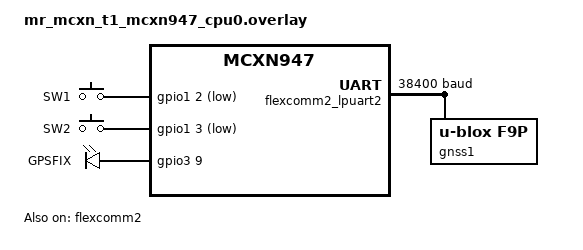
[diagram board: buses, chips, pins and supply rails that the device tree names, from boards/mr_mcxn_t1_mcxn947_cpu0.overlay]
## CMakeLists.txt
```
# Copyright 2026 NXP
#
# SPDX-License-Identifier: Apache-2.0

cmake_minimum_required(VERSION 3.13.1)

find_package(Zephyr REQUIRED HINTS $ENV{ZEPHYR_BASE})

project(io_exp_gnss LANGUAGES C)

set(flags
  -std=c11
  -Wall
  -Wextra
  -Werror
  -Wstrict-prototypes
  -Waggregate-return
  -Wbad-function-cast
  -Wcast-align
  -Wcast-qual
  -Wfloat-equal
  -Wformat-security
  -Wlogical-op
  -Wmissing-declarations
  -Wmissing-include-dirs
  -Wmissing-prototypes
  -Wnested-externs
  -Wpointer-arith
  -Wredundant-decls
  -Wsequence-point
  -Wshadow
  -Wstrict-prototypes
  -Wswitch
  -Wundef
  -Wunreachable-code
  -Wunused-but-set-parameter
  -Wwrite-strings
  )
string(JOIN " " flags ${flags})

set(SOURCE_FILES
  src/boot_banner.c
  )

set_source_files_properties(
  ${SOURCE_FILES}
  PROPERTIES COMPILE_FLAGS
  "${flags}"
  )

target_sources(app PRIVATE ${SOURCE_FILES})

target_include_directories(app SYSTEM BEFORE PRIVATE ${ZEPHYR_BASE}/include ${CMAKE_BINARY_DIR})

# vi: ts=2 sw=2 et
```

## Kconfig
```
# Copyright 2026 NXP
#
# SPDX-License-Identifier: Apache-2.0

mainmenu "MCXN-T1-IO-EXP"
menu "Zephyr"
source "Kconfig.zephyr"
endmenu

menu "IO-EXP"

module = MCXN_T1_ROS2_IO_EXP
module-str = mcxn_t1_ros2_io_exp
source "subsys/logging/Kconfig.template.log_config"
endmenu
```

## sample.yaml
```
# Copyright 2026 NXP
#
# SPDX-License-Identifier: Apache-2.0

sample:
  description: io_exp_gnss
  name: io_exp_gnss
common:
  build_only: true
tests:
  io_exp_gnss.mr_mcxn_t1/mcxn947/cpu0:
    tags:
      - gnss
    integration_platforms:
      - mr_mcxn_t1/mcxn947/cpu0
```

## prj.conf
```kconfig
# Copyright 2026 NXP
#
# SPDX-License-Identifier: Apache-2.0

CONFIG_SPINALI=y
CONFIG_SPINALI_APP_NAME="MCXN-T1-IO-EXP"

CONFIG_ZCBOR=y
CONFIG_MCUMGR=y
CONFIG_MCUMGR_TRANSPORT_UDP=y
CONFIG_MCUMGR_TRANSPORT_UDP_IPV4=y
CONFIG_MCUMGR_GRP_OS=y
CONFIG_MCUMGR_GRP_OS_INFO=y
CONFIG_MCUMGR_GRP_OS_INFO_BUILD_DATE_TIME=y
CONFIG_MCUMGR_GRP_OS_INFO_CUSTOM_HOOKS=y
CONFIG_MCUMGR_MGMT_NOTIFICATION_HOOKS=y
CONFIG_HWINFO=y
CONFIG_MCUMGR_GRP_OS_BOOTLOADER_INFO=y
CONFIG_MCUMGR_GRP_OS_MCUMGR_PARAMS=y
CONFIG_THREAD_MONITOR=y
CONFIG_THREAD_NAME=y
CONFIG_MCUMGR_GRP_OS_TASKSTAT=y
CONFIG_MCUMGR_GRP_OS_TASKSTAT_USE_THREAD_NAME_FOR_NAME=y
CONFIG_THREAD_STACK_INFO=y
CONFIG_FLASH=y
CONFIG_FLASH_MAP=y
CONFIG_IMG_MANAGER=y
CONFIG_STREAM_FLASH=y
CONFIG_MCUMGR_GRP_IMG=y
CONFIG_MCUMGR_GRP_IMG_SLOT_INFO=y
CONFIG_SHELL_BACKEND_DUMMY=y
CONFIG_BASE64=y
CONFIG_MCUMGR_GRP_SHELL=y
CONFIG_STATS=y
CONFIG_STATS_NAMES=y
CONFIG_MCUMGR_GRP_STAT=y
CONFIG_SYS_CLOCK_TICKS_PER_SEC=10000
CONFIG_TICKLESS_KERNEL=n
CONFIG_I3C=n
CONFIG_TEST_RANDOM_GENERATOR=y
CONFIG_FPU=y

CONFIG_NET_PKT_TX_COUNT=24
CONFIG_NET_BUF_TX_COUNT=24
CONFIG_NET_BUF_RX_COUNT=24
CONFIG_NET_PKT_RX_COUNT=24


CONFIG_ZROS_SENSE_STREAM=y
CONFIG_ZROS_SENSE_STREAM_IMU=y
CONFIG_ZROS_SENSE_STREAM_MAG=n
CONFIG_ZROS_SENSE_GNSS=y

CONFIG_GNSS=y
CONFIG_GNSS_SATELLITES=y
CONFIG_GNSS_LOG_LEVEL_DBG=y

CONFIG_RM3100_STREAM=n

CONFIG_SHELL=y
CONFIG_SENSOR=y
CONFIG_SENSOR_SHELL=y
CONFIG_SENSOR_INFO=y


CONFIG_SYNAPSE_PB=y
CONFIG_NANOPB=y

CONFIG_SPINALI_SYNAPSE_TOPIC=y
CONFIG_SPINALI_CORE_COMMON=y
CONFIG_SPINALI_CORE_COMMON_BOOT_BANNER=y
CONFIG_ZROS=y
CONFIG_SHELL_STACK_SIZE=8192
CONFIG_INIT_STACKS=y

CONFIG_LOG=y
CONFIG_LOG_CMDS=y
CONFIG_LOG_MODE_DEFERRED=y

CONFIG_MCXN_T1_ROS2_IO_EXP_LOG_LEVEL_DBG=y

CONFIG_SENSOR_SHELL_STREAM=y
CONFIG_SENSOR_SHELL_THREAD_STACK_SIZE=8192
CONFIG_SENSOR_LOG_LEVEL_DBG=n

# modules

CONFIG_MAIN_THREAD_PRIORITY=5
CONFIG_SYSTEM_WORKQUEUE_PRIORITY=-2

CONFIG_NET_SHELL=y
CONFIG_NETWORKING=y
CONFIG_NET_IPV4=y
CONFIG_NET_IPV6=n
CONFIG_NET_UDP=y
CONFIG_NET_TCP=y
CONFIG_NET_SOCKETS=y
CONFIG_ZVFS_OPEN_MAX=16
CONFIG_HEAP_MEM_POOL_SIZE=49152

# Network address config
CONFIG_NET_HOSTNAME="io_exp_gnss"
CONFIG_NET_CONFIG_SETTINGS=y
CONFIG_NET_STATISTICS=y
CONFIG_NET_MGMT_EVENT_INFO=y
CONFIG_NET_MGMT_EVENT_MONITOR=y
CONFIG_NET_BUF_POOL_USAGE=y
CONFIG_NET_DEBUG_NET_PKT_ALLOC=y
CONFIG_NET_CONFIG_NEED_IPV4=y
CONFIG_NET_CONFIG_MY_IPV4_ADDR="10.58.0.14"
CONFIG_NET_CONFIG_MY_IPV4_NETMASK="255.255.0.0"

# STATS
CONFIG_THREAD_RUNTIME_STATS=y
CONFIG_SCHED_THREAD_USAGE=y
CONFIG_SCHED_THREAD_USAGE_ANALYSIS=y
CONFIG_SCHED_THREAD_USAGE_ALL=y
CONFIG_SCHED_THREAD_USAGE_AUTO_ENABLE=y

CONFIG_SPEED_OPTIMIZATIONS=y

CONFIG_PX4_MSGS=y
CONFIG_SYNAPSE_ZENOH_PX4=y
CONFIG_SYNAPSE_ZENOH_PX4_LOG_LEVEL_DBG=y
CONFIG_SYNAPSE_ZENOH_PX4_RIHS_HASH=y
CONFIG_SYNAPSE_ZENOH_PX4_RUNTIME_CONFIG=y
CONFIG_SYNAPSE_ZENOH_PX4_PERSIST=y
CONFIG_SYNAPSE_ZENOH_PX4_RMW_COMPAT=y
CONFIG_SYNAPSE_ZENOH_PX4_MODE_CLIENT=y
CONFIG_SYNAPSE_ZENOH_PX4_LOCATOR="tcp/10.58.0.1:7447"
CONFIG_SYNAPSE_ZENOH_PX4_OPTICAL_FLOW_RATE_HZ=0
CONFIG_SYNAPSE_ZENOH_PX4_DISTANCE_SENSOR_RATE_HZ=0
CONFIG_SYNAPSE_ZENOH_PX4_GNSS_RATE_HZ=10
CONFIG_SYNAPSE_ZENOH_PX4_MAG_RATE_HZ=0
CONFIG_ZENOH_PICO=y
CONFIG_ZENOH_PICO_MULTI_THREAD=y
CONFIG_ZENOH_PICO_LINK_TCP=y
CONFIG_ZENOH_PICO_LINK_UDP_UNICAST=y
CONFIG_ZENOH_PICO_ZEPHYR_TASK_STACK_SIZE=6144
```

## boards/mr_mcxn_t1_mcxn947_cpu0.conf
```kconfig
# Copyright 2026 NXP
#
# SPDX-License-Identifier: Apache-2.0

CONFIG_ICM45686_STREAM=y
CONFIG_RTIO_WORKQ_THREADS_POOL_PRIO=4
CONFIG_I2C_RTIO_SQ_SIZE=8
CONFIG_I2C_RTIO_CQ_SIZE=8

# UART for GNSS
CONFIG_SERIAL=y
CONFIG_UART_INTERRUPT_DRIVEN=y
```

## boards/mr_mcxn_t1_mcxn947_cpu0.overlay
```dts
/*
 * Copyright 2026 NXP
 *
 * SPDX-License-Identifier: Apache-2.0
 *
 * The F9P GNSS is wired to FlexComm2/LPUART2 on this variant, for which no
 * upstream shield exists, so the node and its pinctrl are defined locally.
 */
#include <zephyr/dt-bindings/input/input-event-codes.h>
#include <zephyr/dt-bindings/sensor/icm45686.h>

/ {
	aliases {
		imu-stream-0 = &icm45686_0;
		gnss = &gnss1;
	};
};

/* USB shell IRQ priority lower than the sensor IRQs */
&zephyr_udc0 {
	interrupts = <0x43 0x6>;
};

&icm45686_0 {
	accel-odr = <ICM45686_DT_ACCEL_ODR_3200>;
	gyro-odr = <ICM45686_DT_GYRO_ODR_3200>;
	fifo-watermark = <4>;
	fifo-watermark-equals;
};

&flexcomm2_lpspi2 {
	status = "disabled";
};

&flexcomm2 {
	status = "okay";
};

&flexcomm2_lpuart2 {
	status = "okay";
	pinctrl-0 = <&pinmux_flexcomm2_lpuart>;
	pinctrl-names = "default";
	current-speed = <38400>;

	gnss1: gnss {
		status = "okay";
		compatible = "u-blox,f9p";
		fix-rate = <100>;
		initial-baudrate = <38400>;
	};
};

&pinctrl {
	pinmux_flexcomm2_lpuart: pinmux_flexcomm2_lpuart {
		group0 {
			pinmux = <FC2_P0_PIO4_0>,
				 <FC2_P1_PIO4_1>;
			slew-rate = "fast";
			drive-strength = "low";
			input-enable;
		};
	};
};

/ {
	gpio_keys {
		compatible = "gpio-keys";
		button_sw1: button_sw1 {
			gpios = <&gpio1 2 GPIO_ACTIVE_LOW>;
			label = "SW1";
			zephyr,code = <INPUT_KEY_0>;
		};
		button_sw2: button_sw2 {
			gpios = <&gpio1 3 GPIO_ACTIVE_LOW>;
			label = "SW2";
			zephyr,code = <INPUT_KEY_1>;
		};
	};

	gnss_leds {
		compatible = "gpio-leds";
		led_gpsfix: led_gpsfix {
			gpios = <&gpio3 9 GPIO_ACTIVE_HIGH>;
			label = "GPSFIX";
		};
	};
};
```

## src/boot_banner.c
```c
/*
 * Copyright 2026 NXP
 *
 * SPDX-License-Identifier: Apache-2.0
 */

#include <zephyr/kernel.h>
#include <zephyr/logging/log.h>

#if defined(CONFIG_SPINALI_CORE_COMMON_BOOT_BANNER)
#include <stdio.h>
#endif

#include <spinali/core/common.h>

LOG_MODULE_REGISTER(io_exp_gnss_boot_banner, CONFIG_MCXN_T1_ROS2_IO_EXP_LOG_LEVEL);

static int io_exp_gnss_boot_banner_sys_init(void)
{
	LOG_INF("MCXN-T1 ROS2 IO-EXP %d.%d.%d", CONFIG_SPINALI_VERSION_MAJOR,
		CONFIG_SPINALI_VERSION_MINOR, CONFIG_SPINALI_VERSION_PATCH);
#if defined(CONFIG_SPINALI_CORE_COMMON_BOOT_BANNER)
	printf("%s", banner_spinali);
#endif
	return 0;
};

SYS_INIT(io_exp_gnss_boot_banner_sys_init, APPLICATION, 0);

// vi: ts=4 sw=4 et
```
